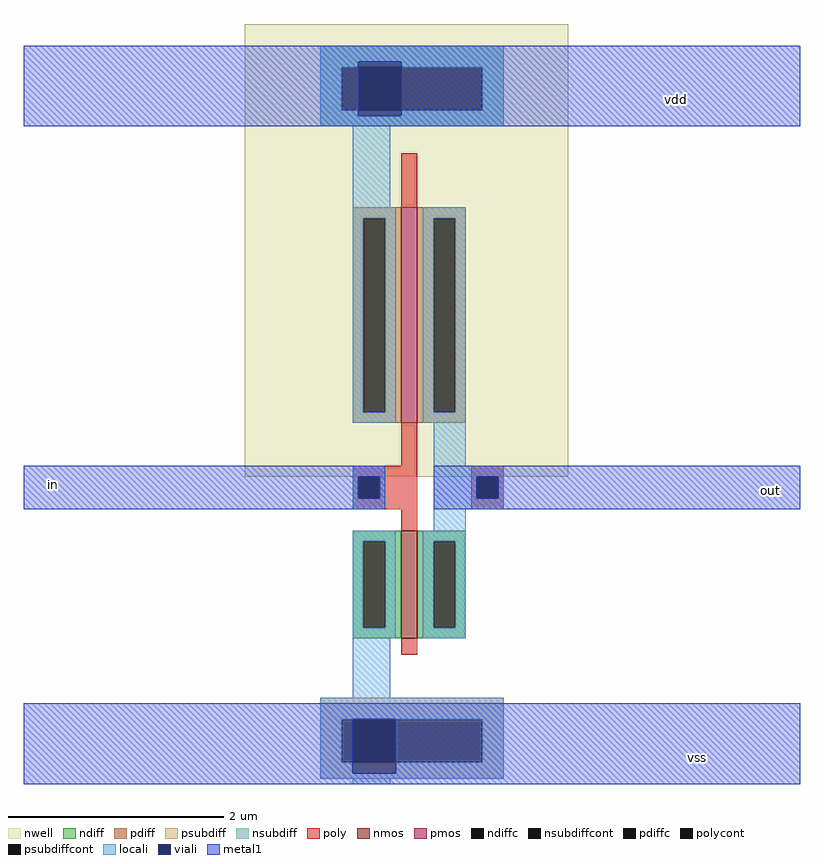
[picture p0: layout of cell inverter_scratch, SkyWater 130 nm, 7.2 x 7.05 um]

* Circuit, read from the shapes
.subckt inverter_scratch in out vdd vss
XM1 out in vss vss sky130_fd_pr__nfet_01v8 w=1 l=0.15
XM2 out in vdd vdd sky130_fd_pr__pfet_01v8 w=2 l=0.15
.ends

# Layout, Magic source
magic
tech sky130A
<< nwell >>
rect -100 -150 200 270
<< nmos >>
rect 45 -300 60 -200
<< pmos >>
rect 45 -100 60 100
<< ndiff >>
rect 0 -210 45 -200
rect 0 -290 10 -210
rect 30 -290 45 -210
rect 0 -300 45 -290
rect 60 -210 105 -200
rect 60 -290 75 -210
rect 95 -290 105 -210
rect 60 -300 105 -290
<< pdiff >>
rect 0 90 45 100
rect 0 -90 10 90
rect 30 -90 45 90
rect 0 -100 45 -90
rect 60 90 105 100
rect 60 -90 75 90
rect 95 -90 105 90
rect 60 -100 105 -90
<< ndiffc >>
rect 10 -290 30 -210
rect 75 -290 95 -210
<< pdiffc >>
rect 10 -90 30 90
rect 75 -90 95 90
<< psubdiff >>
rect -30 -375 140 -355
rect -30 -415 -10 -375
rect 120 -415 140 -375
rect -30 -430 140 -415
<< nsubdiff >>
rect -30 230 140 250
rect -30 190 -10 230
rect 120 190 140 230
rect -30 175 140 190
<< psubdiffcont >>
rect -10 -415 120 -375
<< nsubdiffcont >>
rect -10 190 120 230
<< poly >>
rect 45 100 60 150
rect 45 -140 60 -100
rect 0 -150 60 -140
rect 0 -170 5 -150
rect 25 -170 60 -150
rect 0 -180 60 -170
rect 110 -150 140 -140
rect 110 -170 115 -150
rect 135 -170 140 -150
rect 110 -180 140 -170
rect 45 -200 60 -180
rect 45 -315 60 -300
<< polycont >>
rect 5 -170 25 -150
rect 115 -170 135 -150
<< locali >>
rect -30 235 140 250
rect -30 230 5 235
rect 45 230 140 235
rect -30 190 -10 230
rect 120 190 140 230
rect -30 185 5 190
rect 45 185 140 190
rect -30 175 140 185
rect 0 100 35 175
rect 0 90 40 100
rect 0 -90 10 90
rect 30 -90 40 90
rect 0 -100 40 -90
rect 65 90 105 100
rect 65 -90 75 90
rect 95 -90 105 90
rect 65 -100 105 -90
rect 75 -140 105 -100
rect 0 -150 30 -140
rect 0 -170 5 -150
rect 25 -170 30 -150
rect 0 -180 30 -170
rect 75 -150 140 -140
rect 75 -170 115 -150
rect 135 -170 140 -150
rect 75 -180 140 -170
rect 75 -200 105 -180
rect 0 -210 40 -200
rect 0 -290 10 -210
rect 30 -290 40 -210
rect 0 -300 40 -290
rect 65 -210 105 -200
rect 65 -290 75 -210
rect 95 -290 105 -210
rect 65 -300 105 -290
rect 0 -355 35 -300
rect -30 -375 140 -355
rect -30 -415 -10 -375
rect 120 -415 140 -375
rect -30 -425 0 -415
rect 40 -425 140 -415
rect -30 -430 140 -425
rect 0 -435 35 -430
<< viali >>
rect 5 230 45 235
rect 5 190 45 230
rect 5 185 45 190
rect 5 -170 25 -150
rect 115 -170 135 -150
rect 0 -415 40 -375
rect 0 -425 40 -415
<< metal1 >>
rect -305 235 415 250
rect -305 185 5 235
rect 45 185 415 235
rect -305 175 415 185
rect -305 -150 30 -140
rect -305 -170 5 -150
rect 25 -170 30 -150
rect -305 -180 30 -170
rect 75 -150 415 -140
rect 75 -170 115 -150
rect 135 -170 415 -150
rect 75 -180 415 -170
rect -305 -375 415 -360
rect -305 -425 0 -375
rect 40 -425 415 -375
rect -305 -435 415 -425
<< labels >>
rlabel metal1 300 200 300 200 1 vdd
rlabel metal1 320 -410 320 -410 1 vss
rlabel metal1 375 -175 400 -150 1 out
rlabel metal1 -290 -170 -265 -145 1 in
<< end >>
